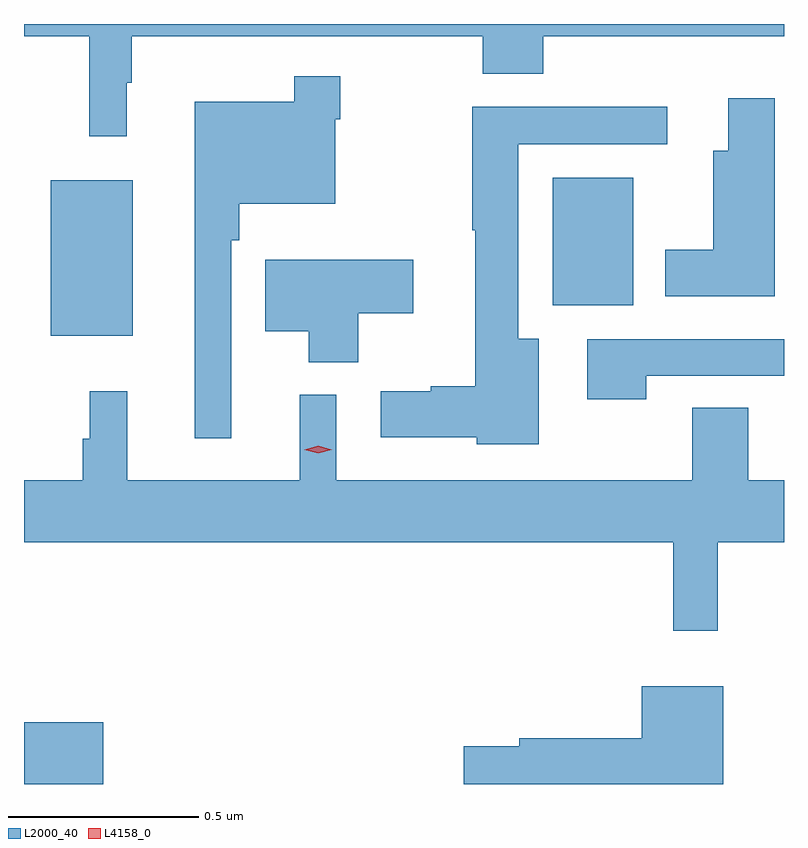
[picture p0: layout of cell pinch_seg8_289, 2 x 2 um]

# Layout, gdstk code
import gdstk
lib = gdstk.Library(unit=1e-6, precision=1e-09)
def R(c, l, rs):  # rectangles x0, y0, x1, y1
    for r in rs: c.add(gdstk.rectangle(r[:2], r[2:], *l))
def P(c, l, *ps):  # polygons
    for p in ps: c.add(gdstk.Polygon(p, *l))
L2000_40 = (2000, 40)
L4158_0 = (4158, 0)

pinch_seg8_289 = lib.new_cell('pinch_seg8_289')
R(pinch_seg8_289, L2000_40, [(503.169,1141.172,503.377,1141.335), (503.24,1142.351,503.455,1142.761), (504.56,1142.432,504.772,1142.767)])
P(pinch_seg8_289, L2000_40, [(503.44,1143.017),(503.452,1143.017),(503.452,1143.14),(504.376,1143.14),(504.376,1143.041),(504.536,1143.041),(504.536,1143.14),(505.169,1143.14),(505.169,1143.172),(503.169,1143.172),(503.169,1143.14),(503.341,1143.14),(503.341,1142.877),(503.44,1142.877)],
  [(503.715,1142.603),(503.735,1142.603),(503.735,1142.699),(503.988,1142.699),(503.988,1142.921),(504.001,1142.921),(504.001,1143.034),(503.88,1143.034),(503.88,1142.968),(503.618,1142.968),(503.618,1142.082),(503.715,1142.082)],
  [(505.144,1142.977),(505.022,1142.977),(505.022,1142.839),(504.983,1142.839),(504.983,1142.578),(504.857,1142.578),(504.857,1142.456),(505.144,1142.456)],
  [(504.523,1142.344),(504.469,1142.344),(504.469,1142.856),(504.862,1142.856),(504.862,1142.954),(504.349,1142.954),(504.349,1142.629),(504.356,1142.629),(504.356,1142.219),(504.24,1142.219),(504.24,1142.206),(504.108,1142.206),(504.108,1142.084),(504.36,1142.084),(504.36,1142.066),(504.523,1142.066)],
  [(504.048,1142.411),(504.193,1142.411),(504.193,1142.551),(503.804,1142.551),(503.804,1142.363),(503.918,1142.363),(503.918,1142.282),(504.048,1142.282)],
  [(504.807,1142.247),(505.169,1142.247),(505.169,1142.343),(504.651,1142.343),(504.651,1142.184),(504.807,1142.184)],
  [(504.995,1141.808),(505.169,1141.808),(505.169,1141.972),(505.075,1141.972),(505.075,1142.162),(504.928,1142.162),(504.928,1141.972),(503.991,1141.972),(503.991,1142.197),(503.894,1142.197),(503.894,1141.972),(503.441,1141.972),(503.441,1142.206),(503.342,1142.206),(503.342,1142.081),(503.323,1142.081),(503.323,1141.972),(503.169,1141.972),(503.169,1141.808),(504.877,1141.808),(504.877,1141.575),(504.995,1141.575)],
  [(505.009,1141.429),(504.794,1141.429),(504.794,1141.292),(504.472,1141.292),(504.472,1141.272),(504.326,1141.272),(504.326,1141.172),(505.009,1141.172)])
P(pinch_seg8_289, L4158_0, [(503.943,1142.042),(503.907,1142.052),(503.907,1142.052),(503.907,1142.052),(503.943,1142.062),(503.979,1142.051),(503.979,1142.051),(503.979,1142.051)])

lib.write_gds('pinch_seg8_289.gds')
